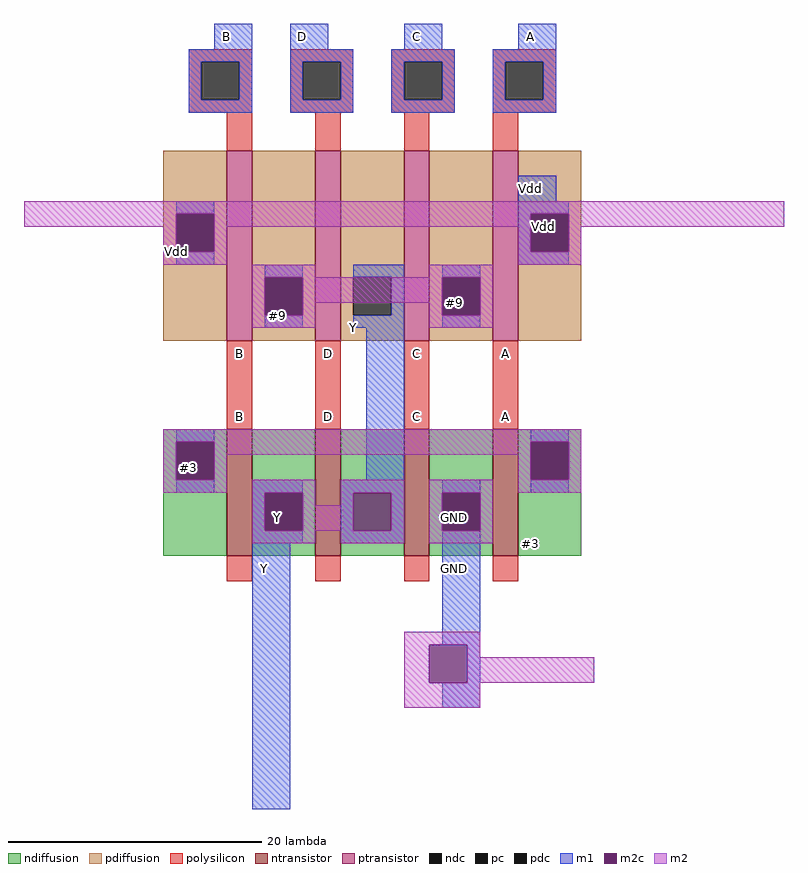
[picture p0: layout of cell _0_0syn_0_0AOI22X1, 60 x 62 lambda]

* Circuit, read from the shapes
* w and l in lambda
.subckt _0_0syn_0_0AOI22X1 GND Vdd D C B Y A
M1 Y B #3 VSUBS nfet w=10 l=2
M2 n1 D Y VSUBS nfet w=10 l=2
M3 GND C n1 VSUBS nfet w=10 l=2
M4 #3 A GND VSUBS nfet w=10 l=2
M5 #9 B Vdd NWELL pfet w=15 l=2
M6 Y D #9 NWELL pfet w=15 l=2
M7 #9 C Y NWELL pfet w=15 l=2
M8 Vdd A #9 NWELL pfet w=15 l=2
.ends

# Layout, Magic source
magic
tech sky130l
<< ndiffusion >>
rect 8 15 13 16
rect 8 12 9 15
rect 12 12 13 15
rect 8 6 13 12
rect 15 11 20 16
rect 15 8 16 11
rect 19 8 20 11
rect 15 6 20 8
rect 22 6 27 16
rect 29 11 34 16
rect 29 8 30 11
rect 33 8 34 11
rect 29 6 34 8
rect 36 15 41 16
rect 36 12 37 15
rect 40 12 41 15
rect 36 6 41 12
<< ndc >>
rect 9 12 12 15
rect 16 8 19 11
rect 30 8 33 11
rect 37 12 40 15
<< ntransistor >>
rect 13 6 15 16
rect 20 6 22 16
rect 27 6 29 16
rect 34 6 36 16
<< pdiffusion >>
rect 8 33 13 38
rect 8 30 9 33
rect 12 30 13 33
rect 8 23 13 30
rect 15 28 20 38
rect 15 25 16 28
rect 19 25 20 28
rect 15 23 20 25
rect 22 28 27 38
rect 22 25 23 28
rect 26 25 27 28
rect 22 23 27 25
rect 29 28 34 38
rect 29 25 30 28
rect 33 25 34 28
rect 29 23 34 25
rect 36 33 41 38
rect 36 30 37 33
rect 40 30 41 33
rect 36 23 41 30
<< pdc >>
rect 9 30 12 33
rect 16 25 19 28
rect 23 25 26 28
rect 30 25 33 28
rect 37 30 40 33
<< ptransistor >>
rect 13 23 15 38
rect 20 23 22 38
rect 27 23 29 38
rect 34 23 36 38
<< polysilicon >>
rect 10 45 15 46
rect 10 42 11 45
rect 14 42 15 45
rect 10 41 15 42
rect 18 45 23 46
rect 18 42 19 45
rect 22 42 23 45
rect 18 41 23 42
rect 26 45 31 46
rect 26 42 27 45
rect 30 42 31 45
rect 26 41 31 42
rect 34 45 39 46
rect 34 42 35 45
rect 38 42 39 45
rect 34 41 39 42
rect 13 38 15 41
rect 20 38 22 41
rect 27 38 29 41
rect 34 38 36 41
rect 13 16 15 23
rect 20 16 22 23
rect 27 16 29 23
rect 34 16 36 23
rect 13 4 15 6
rect 20 4 22 6
rect 27 4 29 6
rect 34 4 36 6
<< pc >>
rect 11 42 14 45
rect 19 42 22 45
rect 27 42 30 45
rect 35 42 38 45
<< m1 >>
rect 12 46 15 48
rect 10 45 15 46
rect 10 42 11 45
rect 14 42 15 45
rect 10 41 15 42
rect 18 46 21 48
rect 27 46 30 48
rect 36 46 39 48
rect 18 45 23 46
rect 18 42 19 45
rect 22 42 23 45
rect 18 41 23 42
rect 26 45 31 46
rect 26 42 27 45
rect 30 42 31 45
rect 26 41 31 42
rect 34 45 39 46
rect 34 42 35 45
rect 38 42 39 45
rect 34 41 39 42
rect 36 34 39 36
rect 9 33 12 34
rect 9 29 12 30
rect 36 33 40 34
rect 36 30 37 33
rect 36 29 40 30
rect 16 28 19 29
rect 16 24 19 25
rect 23 28 27 29
rect 26 25 27 28
rect 23 24 27 25
rect 30 28 33 29
rect 30 24 33 25
rect 9 15 12 16
rect 24 12 27 24
rect 37 15 40 16
rect 9 11 12 12
rect 15 11 19 12
rect 15 8 16 11
rect 15 7 19 8
rect 22 11 27 12
rect 22 8 23 11
rect 26 8 27 11
rect 22 7 27 8
rect 30 11 33 12
rect 37 11 40 12
rect 15 -14 18 7
rect 30 -1 33 8
rect 32 -4 33 -1
rect 30 -6 33 -4
<< m2c >>
rect 9 30 12 33
rect 37 30 40 33
rect 16 25 19 28
rect 30 25 33 28
rect 9 12 12 15
rect 37 12 40 15
rect 16 8 19 11
rect 23 8 26 11
rect 30 8 33 11
rect 29 -4 32 -1
<< m2 >>
rect -3 33 57 34
rect -3 32 9 33
rect 8 30 9 32
rect 12 32 37 33
rect 12 30 13 32
rect 8 29 13 30
rect 36 30 37 32
rect 40 32 57 33
rect 40 30 41 32
rect 36 29 41 30
rect 15 28 20 29
rect 29 28 34 29
rect 15 25 16 28
rect 19 26 30 28
rect 19 25 20 26
rect 15 24 20 25
rect 29 25 30 26
rect 33 25 34 28
rect 29 24 34 25
rect 8 15 41 16
rect 8 12 9 15
rect 12 14 37 15
rect 12 12 13 14
rect 36 12 37 14
rect 40 12 41 15
rect 8 11 13 12
rect 15 11 20 12
rect 15 8 16 11
rect 19 10 20 11
rect 22 11 27 12
rect 22 10 23 11
rect 19 8 23 10
rect 26 8 27 11
rect 15 7 20 8
rect 22 7 27 8
rect 29 11 34 12
rect 36 11 41 12
rect 29 8 30 11
rect 33 8 34 11
rect 29 7 34 8
rect 27 -1 33 0
rect 27 -4 29 -1
rect 32 -2 33 -1
rect 32 -4 42 -2
rect 27 -6 33 -4
<< labels >>
rlabel ndiffusion 37 7 37 7 3 #3
rlabel polysilicon 35 17 35 17 3 A
rlabel polysilicon 35 22 35 22 3 A
rlabel polysilicon 28 17 28 17 3 C
rlabel polysilicon 28 22 28 22 3 C
rlabel pdiffusion 23 24 23 24 3 Y
rlabel polysilicon 21 17 21 17 3 D
rlabel polysilicon 21 22 21 22 3 D
rlabel polysilicon 14 17 14 17 3 B
rlabel polysilicon 14 22 14 22 3 B
rlabel m1 13 47 13 47 3 B
port 5 e
rlabel m1 28 47 28 47 3 C
port 4 e
rlabel m1 19 47 19 47 3 D
port 3 e
rlabel m1 37 47 37 47 3 A
port 7 e
rlabel pdiffusion 37 35 37 35 3 Vdd
port 2 e
rlabel m1 16 5 16 5 3 Y
port 6 e
rlabel m1 31 5 31 5 3 GND
port 1 e
rlabel pdiffusion 9 30 9 30 3 Vdd
rlabel pdiffusion 17 25 17 25 3 #9
rlabel m2c 31 26 31 26 3 #9
rlabel m2c 31 9 31 9 3 GND
rlabel m2c 17 9 17 9 3 Y
rlabel m2c 10 13 10 13 3 #3
rlabel m2c 38 32 38 32 3 Vdd
<< end >>
